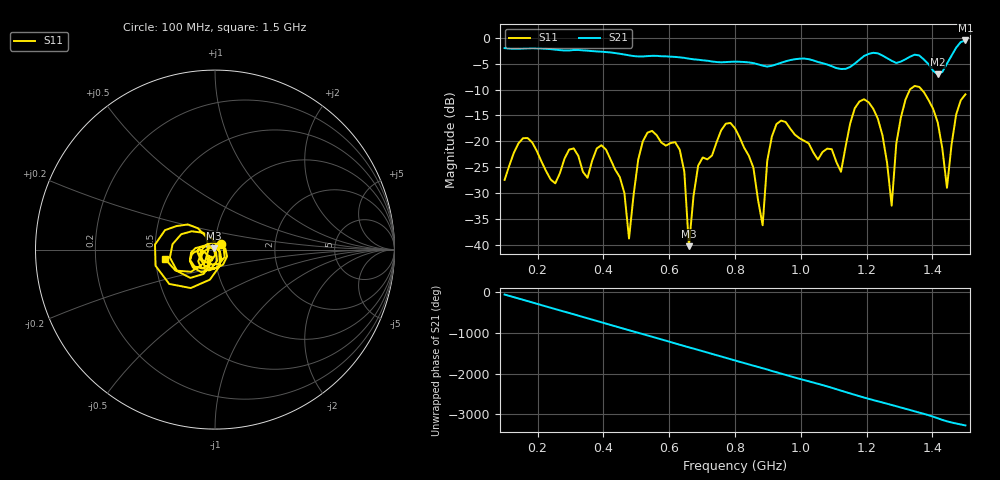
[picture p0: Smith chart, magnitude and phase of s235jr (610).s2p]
! NanoVNA-App
! Date: 2025-09-25 15:08:55
! Start: 100MHz Stop: 1,5GHz Points: 101
! S-Parameter data: F S11 S21 S12 S22
# Hz S RI R 50
!  Frequency  S11_Real  S11_Imag  S21_Real  S21_Imag  S12_Real  S12_Imag  S22_Real  S22_Imag
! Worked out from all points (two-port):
!   101 points, 100 MHz to 1.5 GHz, reference 50 ohm
!   highest |S21| = -0.48 dB at 1.5 GHz (marker M1); lowest = -7.1 dB at 1.416 GHz (marker M2)
!   |S21| within 3 dB of the highest: start of sweep to 489.6 MHz; 1.192 GHz to 1.25 GHz (58 MHz wide, 4.75 % of centre) (the widest 2 of 5)
!   lowest |S11| = -40.3 dB at 660 MHz (marker M3), VSWR 1.02, Z = 49.3 + j0.636 ohm
!   |S11| at or under -10 dB: start of sweep to 1.332 GHz; 1.367 GHz to end of sweep
!   S12 and S22 are empty: the file has one direction only
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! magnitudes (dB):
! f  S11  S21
! 100 MHz  -27.5  -2.0
! 156 MHz  -19.4  -2.0
! 338 MHz  -25.9  -2.4
! 408 MHz  -21.6  -2.7
! 478 MHz  -38.8  -3.4
! 520 MHz  -20.0  -3.6
! 576 MHz  -20.2  -3.5
! 632 MHz  -21.6  -3.8
! 660 MHz  -40.3  -4.0
! 688 MHz  -24.7  -4.2
! 800 MHz  -17.5  -4.6
! 884 MHz  -36.3  -5.4
! 926 MHz  -16.7  -5.1
! 1.038 GHz  -22.2  -4.3
! 1.122 GHz  -25.9  -6.0
! 1.206 GHz  -12.5  -3.1
! 1.276 GHz  -32.5  -4.4
! 1.29 GHz  -20.5  -4.8
! 1.332 GHz  -9.9  -3.6
! 1.416 GHz  -16.4  -7.1
! 1.444 GHz  -29.0  -5.0
! 1.5 GHz  -10.9  -0.5
